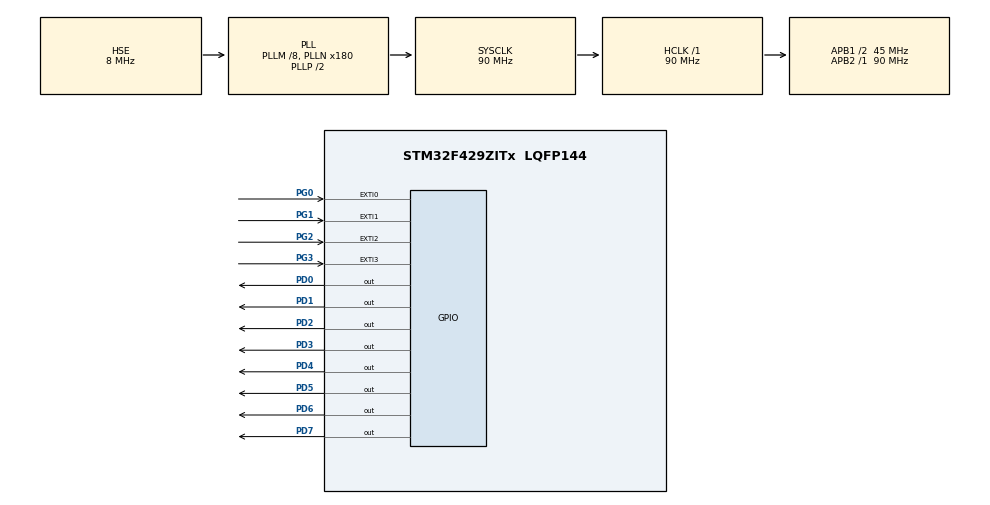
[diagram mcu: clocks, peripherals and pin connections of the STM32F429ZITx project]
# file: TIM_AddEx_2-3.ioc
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Mcu.Family=STM32F4
Mcu.Name=STM32F429ZITx
Mcu.Package=LQFP144
NVIC.EXTI0_IRQn=true\:0\:0\:false\:false\:true\:true\:true\:true
NVIC.EXTI1_IRQn=true\:0\:0\:false\:false\:true\:true\:true\:true
NVIC.EXTI2_IRQn=true\:0\:0\:false\:false\:true\:true\:true\:true
NVIC.EXTI3_IRQn=true\:0\:0\:false\:false\:true\:true\:true\:true
NVIC.PriorityGroup=NVIC_PRIORITYGROUP_4
NVIC.TIM2_IRQn=true\:0\:0\:false\:false\:true\:true\:true\:true
PA13.Mode=Serial_Wire
PA13.Signal=SYS_JTMS-SWDIO
PA14.Mode=Serial_Wire
PA14.Signal=SYS_JTCK-SWCLK
PD0.GPIO_ModeDefaultOutputPP=GPIO_MODE_OUTPUT_PP
PD0.GPIO_PuPd=GPIO_PULLUP
PD0.GPIO_Speed=GPIO_SPEED_FREQ_HIGH
PD0.PinState=GPIO_PIN_RESET
PD0.Signal=GPIO_Output
PD1.GPIO_ModeDefaultOutputPP=GPIO_MODE_OUTPUT_PP
PD1.GPIO_PuPd=GPIO_PULLUP
PD1.GPIO_Speed=GPIO_SPEED_FREQ_HIGH
PD1.PinState=GPIO_PIN_RESET
PD1.Signal=GPIO_Output
PD2.GPIO_ModeDefaultOutputPP=GPIO_MODE_OUTPUT_PP
PD2.GPIO_PuPd=GPIO_PULLUP
PD2.GPIO_Speed=GPIO_SPEED_FREQ_HIGH
PD2.PinState=GPIO_PIN_RESET
PD2.Signal=GPIO_Output
PD3.GPIO_ModeDefaultOutputPP=GPIO_MODE_OUTPUT_PP
PD3.GPIO_PuPd=GPIO_PULLUP
PD3.GPIO_Speed=GPIO_SPEED_FREQ_HIGH
PD3.PinState=GPIO_PIN_RESET
PD3.Signal=GPIO_Output
PD4.GPIO_ModeDefaultOutputPP=GPIO_MODE_OUTPUT_PP
PD4.GPIO_PuPd=GPIO_PULLUP
PD4.GPIO_Speed=GPIO_SPEED_FREQ_HIGH
PD4.PinState=GPIO_PIN_RESET
PD4.Signal=GPIO_Output
PD5.GPIO_ModeDefaultOutputPP=GPIO_MODE_OUTPUT_PP
PD5.GPIO_PuPd=GPIO_PULLUP
PD5.GPIO_Speed=GPIO_SPEED_FREQ_HIGH
PD5.PinState=GPIO_PIN_RESET
PD5.Signal=GPIO_Output
PD6.GPIO_ModeDefaultOutputPP=GPIO_MODE_OUTPUT_PP
PD6.GPIO_PuPd=GPIO_PULLUP
PD6.GPIO_Speed=GPIO_SPEED_FREQ_HIGH
PD6.PinState=GPIO_PIN_RESET
PD6.Signal=GPIO_Output
PD7.GPIO_ModeDefaultOutputPP=GPIO_MODE_OUTPUT_PP
PD7.GPIO_PuPd=GPIO_PULLUP
PD7.GPIO_Speed=GPIO_SPEED_FREQ_HIGH
PD7.PinState=GPIO_PIN_RESET
PD7.Signal=GPIO_Output
PG0.GPIO_ModeDefaultEXTI=GPIO_MODE_IT_FALLING
PG0.GPIO_PuPd=GPIO_NOPULL
PG0.Signal=GPXTI0
PG1.GPIO_ModeDefaultEXTI=GPIO_MODE_IT_FALLING
PG1.GPIO_PuPd=GPIO_NOPULL
PG1.Signal=GPXTI1
PG2.GPIO_ModeDefaultEXTI=GPIO_MODE_IT_FALLING
PG2.GPIO_PuPd=GPIO_NOPULL
PG2.Signal=GPXTI2
PG3.GPIO_ModeDefaultEXTI=GPIO_MODE_IT_FALLING
PG3.GPIO_PuPd=GPIO_NOPULL
PG3.Signal=GPXTI3
PH0/OSC_IN.Mode=HSE-External-Clock-Source
PH0/OSC_IN.Signal=RCC_OSC_IN
PH1/OSC_OUT.Mode=HSE-External-Clock-Source
PH1/OSC_OUT.Signal=RCC_OSC_OUT
ProjectManager.HeapSize=0x200
ProjectManager.StackSize=0x400
ProjectManager.TargetToolchain=STM32CubeIDE
RCC.48MHZClocksFreq_Value=45000000
RCC.AHBFreq_Value=90000000
RCC.APB1CLKDivider=RCC_HCLK_DIV2
RCC.APB1Freq_Value=45000000
RCC.APB1TimFreq_Value=90000000
RCC.APB2Freq_Value=90000000
RCC.APB2TimFreq_Value=90000000
RCC.CortexFreq_Value=90000000
RCC.HCLKFreq_Value=90000000
RCC.HSE_VALUE=8000000
RCC.HSI_VALUE=16000000
RCC.LSE_VALUE=32768
RCC.PLLM=8
RCC.PLLN=180
RCC.PLLSourceVirtual=RCC_PLLSOURCE_HSE
RCC.SYSCLKFreq_VALUE=90000000
RCC.SYSCLKSource=RCC_SYSCLKSOURCE_PLLCLK
RCC.VCOOutputFreq_Value=180000000
TIM2.Period=9
TIM2.Prescaler=8999
VP_TIM2_VS_ClockSourceINT.Mode=Internal
board=custom

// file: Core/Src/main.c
/* USER CODE BEGIN Header */
/**
  ******************************************************************************
  * @file           : main.c
  * @brief          : Main program body
  ******************************************************************************
  * @attention
  *
  * Copyright (c) 2023 STMicroelectronics.
  * All rights reserved.
  *
  * This software is licensed under terms that can be found in the LICENSE file
  * in the root directory of this software component.
  * If no LICENSE file comes with this software, it is provided AS-IS.
  *
  ******************************************************************************
  */
/* USER CODE END Header */
#include "main.h"

TIM_HandleTypeDef htim2;

/* USER CODE BEGIN PV */

int led_period = 1001;
int cnt = 0;
int flag_1 = 0, flag_2 = 0, flag_3 = 0, flag_4 = 0, flag_5 = 0, flag_6 = 0, flag_7 = 0, flag_8 = 0;
int dir = 0;

/* USER CODE END PV */

void SystemClock_Config(void);
static void MX_GPIO_Init(void);
static void MX_TIM2_Init(void);
/* USER CODE BEGIN PFP */

void LED_OnOff(int, int);

/* USER CODE END PFP */

int main(void)
{

  /* MCU Configuration--------------------------------------------------------*/

  /* Reset of all peripherals, Initializes the Flash interface and the Systick. */
  HAL_Init();

  /* Configure the system clock */
  SystemClock_Config();

  /* Initialize all configured peripherals */
  MX_GPIO_Init();
  MX_TIM2_Init();
  /* USER CODE BEGIN 2 */

  LED_OnOff(LED_ALL, 500);
  HAL_TIM_Base_Start_IT(&htim2);

  /* USER CODE END 2 */

  /* Infinite loop */
  while (1)
  {

  }
}

void SystemClock_Config(void)
{
  RCC_OscInitTypeDef RCC_OscInitStruct = {0};
  RCC_ClkInitTypeDef RCC_ClkInitStruct = {0};

  /** Configure the main internal regulator output voltage
  */
  __HAL_RCC_PWR_CLK_ENABLE();
  __HAL_PWR_VOLTAGESCALING_CONFIG(PWR_REGULATOR_VOLTAGE_SCALE3);

  /** Initializes the RCC Oscillators according to the specified parameters
  * in the RCC_OscInitTypeDef structure.
  */
  RCC_OscInitStruct.OscillatorType = RCC_OSCILLATORTYPE_HSE;
  RCC_OscInitStruct.HSEState = RCC_HSE_BYPASS;
  RCC_OscInitStruct.PLL.PLLState = RCC_PLL_ON;
  RCC_OscInitStruct.PLL.PLLSource = RCC_PLLSOURCE_HSE;
  RCC_OscInitStruct.PLL.PLLM = 8;
  RCC_OscInitStruct.PLL.PLLN = 180;
  RCC_OscInitStruct.PLL.PLLP = RCC_PLLP_DIV2;
  RCC_OscInitStruct.PLL.PLLQ = 4;
  if (HAL_RCC_OscConfig(&RCC_OscInitStruct) != HAL_OK)
  {
    Error_Handler();
  }

  /** Activate the Over-Drive mode
  */
  if (HAL_PWREx_EnableOverDrive() != HAL_OK)
  {
    Error_Handler();
  }

  /** Initializes the CPU, AHB and APB buses clocks
  */
  RCC_ClkInitStruct.ClockType = RCC_CLOCKTYPE_HCLK|RCC_CLOCKTYPE_SYSCLK
                              |RCC_CLOCKTYPE_PCLK1|RCC_CLOCKTYPE_PCLK2;
  RCC_ClkInitStruct.SYSCLKSource = RCC_SYSCLKSOURCE_PLLCLK;
  RCC_ClkInitStruct.AHBCLKDivider = RCC_SYSCLK_DIV1;
  RCC_ClkInitStruct.APB1CLKDivider = RCC_HCLK_DIV2;
  RCC_ClkInitStruct.APB2CLKDivider = RCC_HCLK_DIV1;

  if (HAL_RCC_ClockConfig(&RCC_ClkInitStruct, FLASH_LATENCY_2) != HAL_OK)
  {
    Error_Handler();
  }
}

static void MX_TIM2_Init(void)
{

  TIM_ClockConfigTypeDef sClockSourceConfig = {0};
  TIM_MasterConfigTypeDef sMasterConfig = {0};

  htim2.Instance = TIM2;
  htim2.Init.Prescaler = 8999;
  htim2.Init.CounterMode = TIM_COUNTERMODE_UP;
  htim2.Init.Period = 9;
  htim2.Init.ClockDivision = TIM_CLOCKDIVISION_DIV1;
  htim2.Init.AutoReloadPreload = TIM_AUTORELOAD_PRELOAD_DISABLE;
  if (HAL_TIM_Base_Init(&htim2) != HAL_OK)
  {
    Error_Handler();
  }
  sClockSourceConfig.ClockSource = TIM_CLOCKSOURCE_INTERNAL;
  if (HAL_TIM_ConfigClockSource(&htim2, &sClockSourceConfig) != HAL_OK)
  {
    Error_Handler();
  }
  sMasterConfig.MasterOutputTrigger = TIM_TRGO_RESET;
  sMasterConfig.MasterSlaveMode = TIM_MASTERSLAVEMODE_DISABLE;
  if (HAL_TIMEx_MasterConfigSynchronization(&htim2, &sMasterConfig) != HAL_OK)
  {
    Error_Handler();
  }

}

static void MX_GPIO_Init(void)
{
  GPIO_InitTypeDef GPIO_InitStruct = {0};

  /* GPIO Ports Clock Enable */
  __HAL_RCC_GPIOH_CLK_ENABLE();
  __HAL_RCC_GPIOG_CLK_ENABLE();
  __HAL_RCC_GPIOA_CLK_ENABLE();
  __HAL_RCC_GPIOD_CLK_ENABLE();

  /*Configure GPIO pin Output Level */
  HAL_GPIO_WritePin(GPIOD, GPIO_PIN_0|GPIO_PIN_1|GPIO_PIN_2|GPIO_PIN_3
                          |GPIO_PIN_4|GPIO_PIN_5|GPIO_PIN_6|GPIO_PIN_7, GPIO_PIN_RESET);

  /*Configure GPIO pins : PG0 PG1 PG2 PG3 */
  GPIO_InitStruct.Pin = GPIO_PIN_0|GPIO_PIN_1|GPIO_PIN_2|GPIO_PIN_3;
  GPIO_InitStruct.Mode = GPIO_MODE_IT_FALLING;
  GPIO_InitStruct.Pull = GPIO_NOPULL;
  HAL_GPIO_Init(GPIOG, &GPIO_InitStruct);

  /*Configure GPIO pins : PD0 PD1 PD2 PD3
                           PD4 PD5 PD6 PD7 */
  GPIO_InitStruct.Pin = GPIO_PIN_0|GPIO_PIN_1|GPIO_PIN_2|GPIO_PIN_3
                          |GPIO_PIN_4|GPIO_PIN_5|GPIO_PIN_6|GPIO_PIN_7;
  GPIO_InitStruct.Mode = GPIO_MODE_OUTPUT_PP;
  GPIO_InitStruct.Pull = GPIO_PULLUP;
  GPIO_InitStruct.Speed = GPIO_SPEED_FREQ_HIGH;
  HAL_GPIO_Init(GPIOD, &GPIO_InitStruct);

  /* EXTI interrupt init*/
  HAL_NVIC_SetPriority(EXTI0_IRQn, 0, 0);
  HAL_NVIC_EnableIRQ(EXTI0_IRQn);

  HAL_NVIC_SetPriority(EXTI1_IRQn, 0, 0);
  HAL_NVIC_EnableIRQ(EXTI1_IRQn);

  HAL_NVIC_SetPriority(EXTI2_IRQn, 0, 0);
  HAL_NVIC_EnableIRQ(EXTI2_IRQn);

  HAL_NVIC_SetPriority(EXTI3_IRQn, 0, 0);
  HAL_NVIC_EnableIRQ(EXTI3_IRQn);

}

/* USER CODE BEGIN 4 */

void LED_OnOff(int led, int interval)
{
	HAL_GPIO_WritePin(GPIO_LED, led, GPIO_PIN_SET );
	HAL_GPIO_WritePin(GPIO_LED_Nucleo, led, GPIO_PIN_SET );
	HAL_Delay(interval);
	HAL_GPIO_WritePin(GPIO_LED, led, GPIO_PIN_RESET );
	HAL_GPIO_WritePin(GPIO_LED_Nucleo, led, GPIO_PIN_RESET );
}
void HAL_TIM_PeriodElapsedCallback(TIM_HandleTypeDef *htim)
{
	if ( htim->Instance == TIM2){

//		if (led_period >= 1000){
//			dir=0;
//		}
//		else if (led_period <= 0){
//			dir=1;
//			led_period = 100;
//		}

//		if (dir == 0){
			cnt++;
			if (cnt==led_period){

				if (led_period >= 1001){
					dir=0;
					led_period = 801;
				}
				else if (led_period <= 1){
					dir=1;
					led_period = 201;
				}

				if ((((flag_1==0)&&(flag_2==0))&&((flag_3==0)&&(flag_4==0)))&&(((flag_5==0)&&(flag_6==0))&&((flag_7==0)&&(flag_8==0)))){
					HAL_GPIO_WritePin(GPIO_LED, LED1, GPIO_PIN_SET);
					HAL_GPIO_WritePin(GPIO_LED, LED2, GPIO_PIN_RESET);
					HAL_GPIO_WritePin(GPIO_LED, LED3, GPIO_PIN_RESET);
					HAL_GPIO_WritePin(GPIO_LED, LED4, GPIO_PIN_RESET);
					HAL_GPIO_WritePin(GPIO_LED, LED5, GPIO_PIN_RESET);
					HAL_GPIO_WritePin(GPIO_LED, LED6, GPIO_PIN_RESET);
					HAL_GPIO_WritePin(GPIO_LED, LED7, GPIO_PIN_RESET);
					HAL_GPIO_WritePin(GPIO_LED, LED8, GPIO_PIN_RESET);

					flag_1 = 1,	flag_2 = 0,	flag_3 = 0,	flag_4 = 0,	flag_5 = 0,	flag_6 = 0,	flag_7 = 0,	flag_8 = 0;
					cnt = 0;

				}
				else if (flag_1==1){
					HAL_GPIO_WritePin(GPIO_LED, LED1, GPIO_PIN_RESET);
					HAL_GPIO_WritePin(GPIO_LED, LED2, GPIO_PIN_SET);
					HAL_GPIO_WritePin(GPIO_LED, LED3, GPIO_PIN_RESET);
					HAL_GPIO_WritePin(GPIO_LED, LED4, GPIO_PIN_RESET);
					HAL_GPIO_WritePin(GPIO_LED, LED5, GPIO_PIN_RESET);
					HAL_GPIO_WritePin(GPIO_LED, LED6, GPIO_PIN_RESET);
					HAL_GPIO_WritePin(GPIO_LED, LED7, GPIO_PIN_RESET);
					HAL_GPIO_WritePin(GPIO_LED, LED8, GPIO_PIN_RESET);

					flag_1 = 0,	flag_2 = 1,	flag_3 = 0,	flag_4 = 0,	flag_5 = 0,	flag_6 = 0,	flag_7 = 0,	flag_8 = 0;
					cnt = 0;

				}
				else if (flag_2==1){
					HAL_GPIO_WritePin(GPIO_LED, LED1, GPIO_PIN_RESET);
					HAL_GPIO_WritePin(GPIO_LED, LED2, GPIO_PIN_RESET);
					HAL_GPIO_WritePin(GPIO_LED, LED3, GPIO_PIN_SET);
					HAL_GPIO_WritePin(GPIO_LED, LED4, GPIO_PIN_RESET);
					HAL_GPIO_WritePin(GPIO_LED, LED5, GPIO_PIN_RESET);
					HAL_GPIO_WritePin(GPIO_LED, LED6, GPIO_PIN_RESET);
					HAL_GPIO_WritePin(GPIO_LED, LED7, GPIO_PIN_RESET);
					HAL_GPIO_WritePin(GPIO_LED, LED8, GPIO_PIN_RESET);

					flag_1 = 0,	flag_2 = 0,	flag_3 = 1,	flag_4 = 0,	flag_5 = 0,	flag_6 = 0,	flag_7 = 0,	flag_8 = 0;
					cnt = 0;

				}
				else if (flag_3==1){
					HAL_GPIO_WritePin(GPIO_LED, LED1, GPIO_PIN_RESET);
					HAL_GPIO_WritePin(GPIO_LED, LED2, GPIO_PIN_RESET);
					HAL_GPIO_WritePin(GPIO_LED, LED3, GPIO_PIN_RESET);
					HAL_GPIO_WritePin(GPIO_LED, LED4, GPIO_PIN_SET);
					HAL_GPIO_WritePin(GPIO_LED, LED5, GPIO_PIN_RESET);
					HAL_GPIO_WritePin(GPIO_LED, LED6, GPIO_PIN_RESET);
					HAL_GPIO_WritePin(GPIO_LED, LED7, GPIO_PIN_RESET);
					HAL_GPIO_WritePin(GPIO_LED, LED8, GPIO_PIN_RESET);

					flag_1 = 0,	flag_2 = 0,	flag_3 = 0,	flag_4 = 1,	flag_5 = 0,	flag_6 = 0,	flag_7 = 0,	flag_8 = 0;
					cnt = 0;

				}
				else if (flag_4==1){
					HAL_GPIO_WritePin(GPIO_LED, LED1, GPIO_PIN_RESET);
					HAL_GPIO_WritePin(GPIO_LED, LED2, GPIO_PIN_RESET);
					HAL_GPIO_WritePin(GPIO_LED, LED3, GPIO_PIN_RESET);
					HAL_GPIO_WritePin(GPIO_LED, LED4, GPIO_PIN_RESET);
					HAL_GPIO_WritePin(GPIO_LED, LED5, GPIO_PIN_SET);
					HAL_GPIO_WritePin(GPIO_LED, LED6, GPIO_PIN_RESET);
					HAL_GPIO_WritePin(GPIO_LED, LED7, GPIO_PIN_RESET);
					HAL_GPIO_WritePin(GPIO_LED, LED8, GPIO_PIN_RESET);

					flag_1 = 0,	flag_2 = 0,	flag_3 = 0,	flag_4 = 0,	flag_5 = 1,	flag_6 = 0,	flag_7 = 0,	flag_8 = 0;
					cnt = 0;

				}
				else if (flag_5==1){
					HAL_GPIO_WritePin(GPIO_LED, LED1, GPIO_PIN_RESET);
					HAL_GPIO_WritePin(GPIO_LED, LED2, GPIO_PIN_RESET);
					HAL_GPIO_WritePin(GPIO_LED, LED3, GPIO_PIN_RESET);
					HAL_GPIO_WritePin(GPIO_LED, LED4, GPIO_PIN_RESET);
					HAL_GPIO_WritePin(GPIO_LED, LED5, GPIO_PIN_RESET);
					HAL_GPIO_WritePin(GPIO_LED, LED6, GPIO_PIN_SET);
					HAL_GPIO_WritePin(GPIO_LED, LED7, GPIO_PIN_RESET);
					HAL_GPIO_WritePin(GPIO_LED, LED8, GPIO_PIN_RESET);

					flag_1 = 0,	flag_2 = 0,	flag_3 = 0,	flag_4 = 0,	flag_5 = 0,	flag_6 = 1,	flag_7 = 0,	flag_8 = 0;
					cnt = 0;

				}
				else if (flag_6==1){
					HAL_GPIO_WritePin(GPIO_LED, LED1, GPIO_PIN_RESET);
					HAL_GPIO_WritePin(GPIO_LED, LED2, GPIO_PIN_RESET);
					HAL_GPIO_WritePin(GPIO_LED, LED3, GPIO_PIN_RESET);
					HAL_GPIO_WritePin(GPIO_LED, LED4, GPIO_PIN_RESET);
					HAL_GPIO_WritePin(GPIO_LED, LED5, GPIO_PIN_RESET);
					HAL_GPIO_WritePin(GPIO_LED, LED6, GPIO_PIN_RESET);
					HAL_GPIO_WritePin(GPIO_LED, LED7, GPIO_PIN_SET);
					HAL_GPIO_WritePin(GPIO_LED, LED8, GPIO_PIN_RESET);

					flag_1 = 0,	flag_2 = 0,	flag_3 = 0,	flag_4 = 0,	flag_5 = 0,	flag_6 = 0,	flag_7 = 1,	flag_8 = 0;
					cnt = 0;

				}
				else if (flag_7==1){
					HAL_GPIO_WritePin(GPIO_LED, LED1, GPIO_PIN_RESET);
					HAL_GPIO_WritePin(GPIO_LED, LED2, GPIO_PIN_RESET);
					HAL_GPIO_WritePin(GPIO_LED, LED3, GPIO_PIN_RESET);
					HAL_GPIO_WritePin(GPIO_LED, LED4, GPIO_PIN_RESET);
					HAL_GPIO_WritePin(GPIO_LED, LED5, GPIO_PIN_RESET);
					HAL_GPIO_WritePin(GPIO_LED, LED6, GPIO_PIN_RESET);
					HAL_GPIO_WritePin(GPIO_LED, LED7, GPIO_PIN_RESET);
					HAL_GPIO_WritePin(GPIO_LED, LED8, GPIO_PIN_SET);

					flag_1 = 0,	flag_2 = 0,	flag_3 = 0,	flag_4 = 0,	flag_5 = 0,	flag_6 = 0,	flag_7 = 0,	flag_8 = 1;
					cnt = 0;

				}
				else if (flag_8==1){
					HAL_GPIO_WritePin(GPIO_LED, LED1, GPIO_PIN_SET);
					HAL_GPIO_WritePin(GPIO_LED, LED2, GPIO_PIN_RESET);
					HAL_GPIO_WritePin(GPIO_LED, LED3, GPIO_PIN_RESET);
					HAL_GPIO_WritePin(GPIO_LED, LED4, GPIO_PIN_RESET);
					HAL_GPIO_WritePin(GPIO_LED, LED5, GPIO_PIN_RESET);
					HAL_GPIO_WritePin(GPIO_LED, LED6, GPIO_PIN_RESET);
					HAL_GPIO_WritePin(GPIO_LED, LED7, GPIO_PIN_RESET);
					HAL_GPIO_WritePin(GPIO_LED, LED8, GPIO_PIN_RESET);

					flag_1 = 1,	flag_2 = 0,	flag_3 = 0,	flag_4 = 0,	flag_5 = 0,	flag_6 = 0,	flag_7 = 0,	flag_8 = 0;
					cnt = 0;

					if (dir == 0){
						led_period=led_period-100;
					}
					else if (dir == 1){
						led_period=led_period+100;
					}
				}
//		}
/*
		else if (dir == 1){
				cnt++;
				if (cnt==led_period){
					if ((((flag_1==0)&&(flag_2==0))&&((flag_3==0)&&(flag_4==0)))&&(((flag_5==0)&&(flag_6==0))&&((flag_7==0)&&(flag_8==0)))){
						HAL_GPIO_WritePin(GPIO_LED, LED1, GPIO_PIN_SET);
						HAL_GPIO_WritePin(GPIO_LED, LED2, GPIO_PIN_RESET);
						HAL_GPIO_WritePin(GPIO_LED, LED3, GPIO_PIN_RESET);
						HAL_GPIO_WritePin(GPIO_LED, LED4, GPIO_PIN_RESET);
						HAL_GPIO_WritePin(GPIO_LED, LED5, GPIO_PIN_RESET);
						HAL_GPIO_WritePin(GPIO_LED, LED6, GPIO_PIN_RESET);
						HAL_GPIO_WritePin(GPIO_LED, LED7, GPIO_PIN_RESET);
						HAL_GPIO_WritePin(GPIO_LED, LED8, GPIO_PIN_RESET);

						flag_1 = 1,	flag_2 = 0,	flag_3 = 0,	flag_4 = 0,	flag_5 = 0,	flag_6 = 0,	flag_7 = 0,	flag_8 = 0;
						cnt = 0;

					}
					else if (flag_1==1){
						HAL_GPIO_WritePin(GPIO_LED, LED1, GPIO_PIN_RESET);
						HAL_GPIO_WritePin(GPIO_LED, LED2, GPIO_PIN_SET);
						HAL_GPIO_WritePin(GPIO_LED, LED3, GPIO_PIN_RESET);
						HAL_GPIO_WritePin(GPIO_LED, LED4, GPIO_PIN_RESET);
						HAL_GPIO_WritePin(GPIO_LED, LED5, GPIO_PIN_RESET);
						HAL_GPIO_WritePin(GPIO_LED, LED6, GPIO_PIN_RESET);
						HAL_GPIO_WritePin(GPIO_LED, LED7, GPIO_PIN_RESET);
						HAL_GPIO_WritePin(GPIO_LED, LED8, GPIO_PIN_RESET);

						flag_1 = 0,	flag_2 = 1,	flag_3 = 0,	flag_4 = 0,	flag_5 = 0,	flag_6 = 0,	flag_7 = 0,	flag_8 = 0;
						cnt = 0;

					}
					else if (flag_2==1){
						HAL_GPIO_WritePin(GPIO_LED, LED1, GPIO_PIN_RESET);
						HAL_GPIO_WritePin(GPIO_LED, LED2, GPIO_PIN_RESET);
						HAL_GPIO_WritePin(GPIO_LED, LED3, GPIO_PIN_SET);
						HAL_GPIO_WritePin(GPIO_LED, LED4, GPIO_PIN_RESET);
						HAL_GPIO_WritePin(GPIO_LED, LED5, GPIO_PIN_RESET);
						HAL_GPIO_WritePin(GPIO_LED, LED6, GPIO_PIN_RESET);
						HAL_GPIO_WritePin(GPIO_LED, LED7, GPIO_PIN_RESET);
						HAL_GPIO_WritePin(GPIO_LED, LED8, GPIO_PIN_RESET);

						flag_1 = 0,	flag_2 = 0,	flag_3 = 1,	flag_4 = 0,	flag_5 = 0,	flag_6 = 0,	flag_7 = 0,	flag_8 = 0;
						cnt = 0;

					}
					else if (flag_3==1){
						HAL_GPIO_WritePin(GPIO_LED, LED1, GPIO_PIN_RESET);
						HAL_GPIO_WritePin(GPIO_LED, LED2, GPIO_PIN_RESET);
						HAL_GPIO_WritePin(GPIO_LED, LED3, GPIO_PIN_RESET);
						HAL_GPIO_WritePin(GPIO_LED, LED4, GPIO_PIN_SET);
						HAL_GPIO_WritePin(GPIO_LED, LED5, GPIO_PIN_RESET);
						HAL_GPIO_WritePin(GPIO_LED, LED6, GPIO_PIN_RESET);
						HAL_GPIO_WritePin(GPIO_LED, LED7, GPIO_PIN_RESET);
						HAL_GPIO_WritePin(GPIO_LED, LED8, GPIO_PIN_RESET);

						flag_1 = 0,	flag_2 = 0,	flag_3 = 0,	flag_4 = 1,	flag_5 = 0,	flag_6 = 0,	flag_7 = 0,	flag_8 = 0;
						cnt = 0;

					}
					else if (flag_4==1){
						HAL_GPIO_WritePin(GPIO_LED, LED1, GPIO_PIN_RESET);
						HAL_GPIO_WritePin(GPIO_LED, LED2, GPIO_PIN_RESET);
						HAL_GPIO_WritePin(GPIO_LED, LED3, GPIO_PIN_RESET);
						HAL_GPIO_WritePin(GPIO_LED, LED4, GPIO_PIN_RESET);
						HAL_GPIO_WritePin(GPIO_LED, LED5, GPIO_PIN_SET);
						HAL_GPIO_WritePin(GPIO_LED, LED6, GPIO_PIN_RESET);
						HAL_GPIO_WritePin(GPIO_LED, LED7, GPIO_PIN_RESET);
						HAL_GPIO_WritePin(GPIO_LED, LED8, GPIO_PIN_RESET);

						flag_1 = 0,	flag_2 = 0,	flag_3 = 0,	flag_4 = 0,	flag_5 = 1,	flag_6 = 0,	flag_7 = 0,	flag_8 = 0;
						cnt = 0;

					}
					else if (flag_5==1){
						HAL_GPIO_WritePin(GPIO_LED, LED1, GPIO_PIN_RESET);
						HAL_GPIO_WritePin(GPIO_LED, LED2, GPIO_PIN_RESET);
						HAL_GPIO_WritePin(GPIO_LED, LED3, GPIO_PIN_RESET);
						HAL_GPIO_WritePin(GPIO_LED, LED4, GPIO_PIN_RESET);
						HAL_GPIO_WritePin(GPIO_LED, LED5, GPIO_PIN_RESET);
						HAL_GPIO_WritePin(GPIO_LED, LED6, GPIO_PIN_SET);
						HAL_GPIO_WritePin(GPIO_LED, LED7, GPIO_PIN_RESET);
						HAL_GPIO_WritePin(GPIO_LED, LED8, GPIO_PIN_RESET);

						flag_1 = 0,	flag_2 = 0,	flag_3 = 0,	flag_4 = 0,	flag_5 = 0,	flag_6 = 1,	flag_7 = 0,	flag_8 = 0;
						cnt = 0;

					}
					else if (flag_6==1){
						HAL_GPIO_WritePin(GPIO_LED, LED1, GPIO_PIN_RESET);
						HAL_GPIO_WritePin(GPIO_LED, LED2, GPIO_PIN_RESET);
						HAL_GPIO_WritePin(GPIO_LED, LED3, GPIO_PIN_RESET);
						HAL_GPIO_WritePin(GPIO_LED, LED4, GPIO_PIN_RESET);
						HAL_GPIO_WritePin(GPIO_LED, LED5, GPIO_PIN_RESET);
						HAL_GPIO_WritePin(GPIO_LED, LED6, GPIO_PIN_RESET);
						HAL_GPIO_WritePin(GPIO_LED, LED7, GPIO_PIN_SET);
						HAL_GPIO_WritePin(GPIO_LED, LED8, GPIO_PIN_RESET);

						flag_1 = 0,	flag_2 = 0,	flag_3 = 0,	flag_4 = 0,	flag_5 = 0,	flag_6 = 0,	flag_7 = 1,	flag_8 = 0;
						cnt = 0;

					}
					else if (flag_7==1){
						HAL_GPIO_WritePin(GPIO_LED, LED1, GPIO_PIN_RESET);
						HAL_GPIO_WritePin(GPIO_LED, LED2, GPIO_PIN_RESET);
						HAL_GPIO_WritePin(GPIO_LED, LED3, GPIO_PIN_RESET);
						HAL_GPIO_WritePin(GPIO_LED, LED4, GPIO_PIN_RESET);
						HAL_GPIO_WritePin(GPIO_LED, LED5, GPIO_PIN_RESET);
						HAL_GPIO_WritePin(GPIO_LED, LED6, GPIO_PIN_RESET);
						HAL_GPIO_WritePin(GPIO_LED, LED7, GPIO_PIN_RESET);
						HAL_GPIO_WritePin(GPIO_LED, LED8, GPIO_PIN_SET);

						flag_1 = 0,	flag_2 = 0,	flag_3 = 0,	flag_4 = 0,	flag_5 = 0,	flag_6 = 0,	flag_7 = 0,	flag_8 = 1;
						cnt = 0;

					}
					else if (flag_8==1){
						HAL_GPIO_WritePin(GPIO_LED, LED1, GPIO_PIN_SET);
						HAL_GPIO_WritePin(GPIO_LED, LED2, GPIO_PIN_RESET);
						HAL_GPIO_WritePin(GPIO_LED, LED3, GPIO_PIN_RESET);
						HAL_GPIO_WritePin(GPIO_LED, LED4, GPIO_PIN_RESET);
						HAL_GPIO_WritePin(GPIO_LED, LED5, GPIO_PIN_RESET);
						HAL_GPIO_WritePin(GPIO_LED, LED6, GPIO_PIN_RESET);
						HAL_GPIO_WritePin(GPIO_LED, LED7, GPIO_PIN_RESET);
						HAL_GPIO_WritePin(GPIO_LED, LED8, GPIO_PIN_RESET);

						flag_1 = 1,	flag_2 = 0,	flag_3 = 0,	flag_4 = 0,	flag_5 = 0,	flag_6 = 0,	flag_7 = 0,	flag_8 = 0;
						cnt = 0;
						led_period=led_period+100;
					}
				}
			}*/
		}
	}
}

/* USER CODE END 4 */

void Error_Handler(void)
{
  __disable_irq();
  while (1)
  {
  }
}
